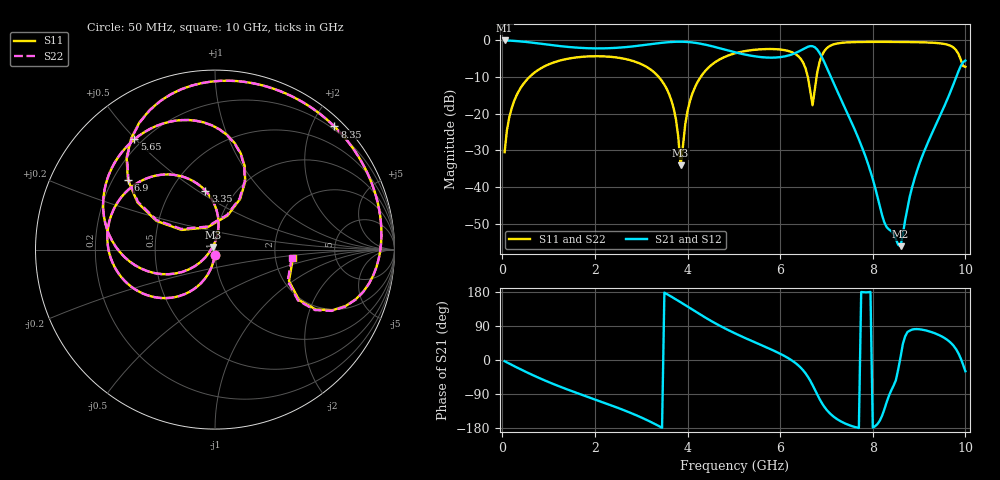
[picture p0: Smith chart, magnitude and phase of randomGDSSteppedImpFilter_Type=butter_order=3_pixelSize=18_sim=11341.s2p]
! freq	dB(S11)	phase(S11)	dB(S12)	phase(S12)
!  dB(S21)	phase(S21)	dB(S22)	phase(S22)
!S-par simulation data
#  GHz  S  DB  R 50
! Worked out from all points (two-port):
!   200 points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, 50 MHz to 10 GHz, reference 50 ohm
!   highest |S21| = -0.01 dB at 50 MHz (marker M1); lowest = -56.1 dB at 8.6 GHz (marker M2)
!   |S21| within 3 dB of the highest: start of sweep to 4.958 GHz; 6.401 GHz to 6.829 GHz (427.8 MHz wide, 6.47 % of centre)
!   lowest |S11| = -34.0 dB at 3.85 GHz (marker M3), VSWR 1.04, Z = 48.7 + j1.46 ohm
!   |S11| at or under -10 dB: start of sweep to 584.5 MHz; 3.38 GHz to 4.282 GHz (902 MHz wide, 23.5 % of centre); 6.599 GHz to 6.787 GHz (187.5 MHz wide, 2.8 % of centre)
!   |S22| runs from -34.0 to -0.4 dB; largest |S21 - S12| = 0
!   S11 on the Smith chart (normalised r, x): 50 MHz: 0.99, -0.06; 3.35 GHz: 0.73, +0.54; 5.65 GHz: 0.17, +0.50; 6.9 GHz: 0.26, +0.33; 8.35 GHz: 0.15, +2.35; 10 GHz: 2.51, -0.30
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0.05  -30.48 -93.3  -0.01 -3.2  -0.01 -3.2  -30.48 -93.3
0.2  -18.58 -103.1  -0.08 -12.6  -0.08 -12.6  -18.58 -103.1
0.5  -11.15 -121.4  -0.39 -30.8  -0.39 -30.8  -11.15 -121.4
1.75  -4.44 176.3  -2.07 -93.2  -2.07 -93.2  -4.44 176.3
2.7  -5.18 134.0  -1.78 -136.0  -1.78 -136.0  -5.18 134.0
3.35  -9.57 99.2  -0.78 -172.3  -0.78 -172.3  -9.57 99.2
3.4  -10.28 96.3  -0.71 -175.6  -0.71 -175.6  -10.28 96.3
3.7  -18.50 80.9  -0.38 163.6  -0.38 163.6  -18.50 80.9
3.85  -34.02 131.2  -0.35 152.5  -0.35 152.5  -34.00 131.3
4  -19.25 -139.3  -0.43 141.0  -0.43 141.0  -19.25 -139.3
4.2  -11.75 -148.9  -0.72 125.7  -0.72 125.7  -11.75 -148.9
5.05  -3.43 157.7  -3.30 68.9  -3.30 68.9  -3.43 157.7
5.65  -2.37 126.2  -4.62 36.3  -4.62 36.3  -2.37 126.2
6.45  -5.11 75.0  -2.68 -21.0  -2.68 -21.0  -5.10 75.3
6.7  -17.67 109.4  -1.57 -66.1  -1.57 -66.1  -17.35 109.3
6.9  -4.13 141.3  -4.53 -113.4  -4.53 -113.4  -4.12 140.9
7.35  -0.63 94.8  -17.05 -164.5  -17.05 -164.5  -0.63 94.6
8.35  -0.40 45.9  -51.56 -94.0  -51.56 -94.0  -0.40 45.8
8.6  -0.42 35.4  -56.12 7.8  -56.12 7.8  -0.42 35.2
9  -0.49 18.2  -33.91 81.2  -33.91 81.2  -0.49 18.1
9.8  -2.66 -27.3  -10.04 28.3  -10.04 28.3  -2.69 -27.7
10  -7.20 -6.4  -5.49 -29.7  -5.49 -29.7  -7.33 -6.2
